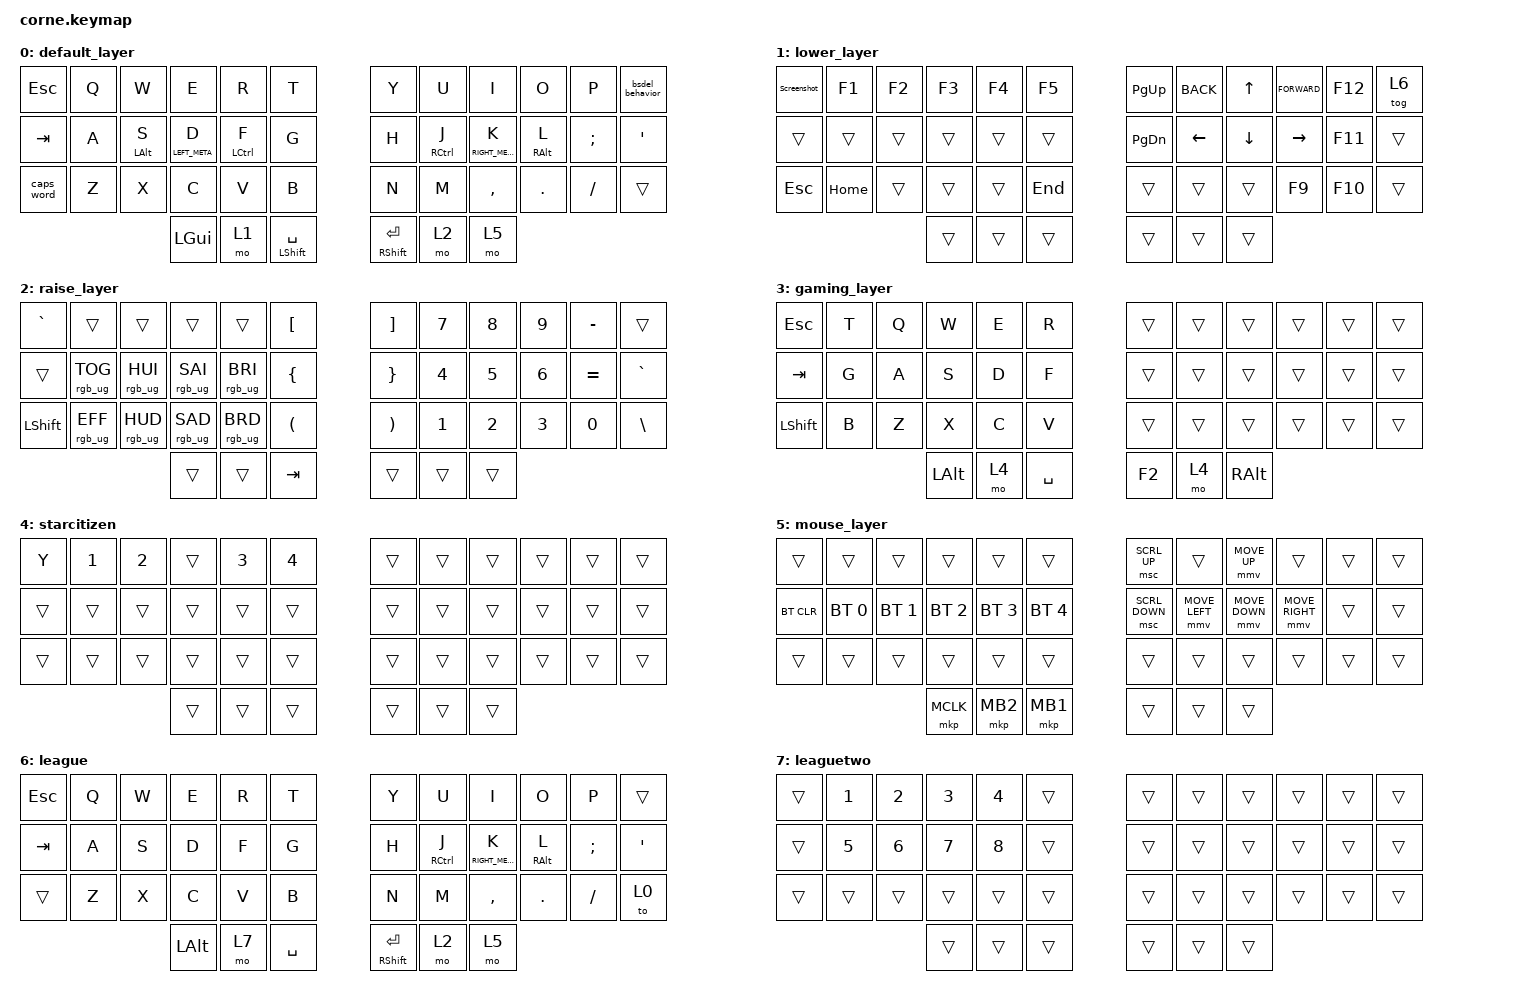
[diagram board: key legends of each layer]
/*
 * Copyright (c) 2020 The ZMK Contributors
 *
 * SPDX-License-Identifier: MIT
 */

#include <behaviors.dtsi>
#include <dt-bindings/zmk/bt.h>
#include <dt-bindings/zmk/keys.h>
#include <dt-bindings/zmk/pointing.h>
#include <dt-bindings/zmk/rgb.h>

&led_strip { chain-length = <27>; };

/ {
    combos {
        compatible = "zmk,combos";

        gaming_layer_toggle {
            bindings = <&tog 3>;
            key-positions = <40 37>;
        };
    };

    behaviors {
        HMR: HMR {
            compatible = "zmk,behavior-hold-tap";
            label = "HMR";
            bindings = <&kp>, <&kp>;

            #binding-cells = <2>;
            tapping-term-ms = <200>;
            quick-tap-ms = <175>;
            flavor = "tap-preferred";
            hold-trigger-on-release;
        };

        HML: HML {
            compatible = "zmk,behavior-hold-tap";
            label = "HML";
            bindings = <&kp>, <&kp>;

            #binding-cells = <2>;
            tapping-term-ms = <200>;
            quick-tap-ms = <175>;
            hold-trigger-on-release;
            flavor = "tap-preferred";
        };

        bsdel_behavior: bsdel_behavior {
            compatible = "zmk,behavior-mod-morph";
            label = "BSDEL_BEHAVIOR";
            bindings = <&kp BACKSPACE>, <&kp DELETE>;

            #binding-cells = <0>;
            mods = <(MOD_LSFT)>;
        };
    };

    macros {
        alt_tab: alt_tab {
            compatible = "zmk,behavior-macro";
            #binding-cells = <0>;
            bindings = <&macro_press>, <&kp LEFT_META>, <&macro_tap>, <&kp TAB>;

            label = "ALT_TAB";
        };

        Screenshot: Screenshot {
            compatible = "zmk,behavior-macro";
            #binding-cells = <0>;
            bindings =
                <&macro_press>,
                <&kp LEFT_META>,
                <&macro_tap>,
                <&kp PRINTSCREEN>;

            label = "SCREENSHOT";
        };

        discord: discord {
            compatible = "zmk,behavior-macro";
            #binding-cells = <0>;
            bindings =
                <&macro_press>,
                <&kp LEFT_ALT>,
                <&macro_tap>,
                <&kp GRAVE>;

            label = "DISCORD";
        };
    };

    keymap {
        compatible = "zmk,keymap";

        default_layer {
            // -----------------------------------------------------------------------------------------
            // |  TAB |  Q  |  W  |  E  |  R  |  T  |   |  Y  |  U   |  I  |  O  |  P  | BKSP |
            // | CTRL |  A  |  S  |  D  |  F  |  G  |   |  H  |  J   |  K  |  L  |  ;  |  '   |
            // | SHFT |  Z  |  X  |  C  |  V  |  B  |   |  N  |  M   |  ,  |  .  |  /  | SHFT |
            //                    | GUI | LWR | ENT |   | SPC | RSE  | ALT |

            bindings = <
&kp ESCAPE  &kp Q  &kp W            &kp E             &kp R         &kp T                    &kp Y                   &kp U                 &kp I              &kp O             &kp P     &bsdel_behavior
&kp TAB     &kp A  &HMR LEFT_ALT S  &HMR LEFT_META D  &HMR LCTRL F  &kp G                    &kp H                   &HML RIGHT_CONTROL J  &HML RIGHT_META K  &HML RIGHT_ALT L  &kp SEMI  &kp SQT
&caps_word  &kp Z  &kp X            &kp C             &kp V         &kp B                    &kp N                   &kp M                 &kp COMMA          &kp DOT           &kp FSLH  &trans
                                    &kp LGUI          &mo 1         &HMR LEFT_SHIFT SPACE    &HML RIGHT_SHIFT ENTER  &mo 2                 &mo 5
            >;
        };

        lower_layer {
            // -----------------------------------------------------------------------------------------
            // |  TAB |  1    |  2  |  3  |  4  |  5  |   |  6  |  7  |  8  |  9  |  0  | BKSP |
            // | LCTRL| BTCLR | BT0 | BT1 | BT2 | BT3 |   | LFT | DWN |  UP | RGT |     |      |
            // | ESC  |       | HOME| PGUP| PGDN| END |   |     |     |     |     |     |      |
            //                      | GUI |     | SPC |   | ENT |     | ALT |

            bindings = <
&Screenshot  &kp F1    &kp F2  &kp F3  &kp F4  &kp F5     &kp PG_UP  &kp K_BACK      &kp UP_ARROW    &kp K_FORWARD  &kp F12  &tog 6
&trans       &trans    &trans  &trans  &trans  &trans     &kp PG_DN  &kp LEFT_ARROW  &kp DOWN_ARROW  &kp RIGHT      &kp F11  &trans
&kp ESC      &kp HOME  &trans  &trans  &trans  &kp END    &trans     &trans          &trans          &kp F9         &kp F10  &trans
                               &trans  &trans  &trans     &trans     &trans          &trans
            >;
        };

        raise_layer {
            // -----------------------------------------------------------------------------------------
            // |  TAB |   !   |   @   |   #   |   $   |   %   |   |  ^  |  &  |  *  |  (  |  )  | BKSP |
            // | CTRL |RGB_TOG|RGB_HUI|RGB_SAI|RGB_VAI|       |   |  -  |  =  |  [  |  ]  |  \  |  `   |
            // | SHFT |RGB_MOD|RGB_HUD|RGB_SAD|RGB_VAD|QK_BOOT|   |  _  |  +  |  {  |  }  | "|" |  ~   |
            //                            | GUI |     |  SPC  |   | ENT |     | ALT |

            bindings = <
&kp GRAVE  &trans           &trans           &trans           &trans           &kp LEFT_BRACKET        &kp RIGHT_BRACKET      &kp N7  &kp N8  &kp N9  &kp MINUS  &trans
&trans     &rgb_ug RGB_TOG  &rgb_ug RGB_HUI  &rgb_ug RGB_SAI  &rgb_ug RGB_BRI  &kp LEFT_BRACE          &kp RIGHT_BRACE        &kp N4  &kp N5  &kp N6  &kp EQUAL  &kp GRAVE
&kp LSHFT  &rgb_ug RGB_EFF  &rgb_ug RGB_HUD  &rgb_ug RGB_SAD  &rgb_ug RGB_BRD  &kp LEFT_PARENTHESIS    &kp RIGHT_PARENTHESIS  &kp N1  &kp N2  &kp N3  &kp N0     &kp BACKSLASH
                                             &trans           &trans           &kp TAB                 &trans                 &trans  &trans
            >;
        };

        gaming_layer {
            bindings = <
&kp ESCAPE      &kp T  &kp Q  &kp W         &kp E  &kp R        &trans  &trans  &trans         &trans  &trans  &trans
&kp TAB         &kp G  &kp A  &kp S         &kp D  &kp F        &trans  &trans  &trans         &trans  &trans  &trans
&kp LEFT_SHIFT  &kp B  &kp Z  &kp X         &kp C  &kp V        &trans  &trans  &trans         &trans  &trans  &trans
                              &kp LEFT_ALT  &mo 4  &kp SPACE    &kp F2  &mo 4   &kp RIGHT_ALT
            >;
        };

        starcitizen {
            bindings = <
&kp Y   &kp N1  &kp N2  &trans  &kp NUMBER_3  &kp NUMBER_4    &trans  &trans  &trans  &trans  &trans  &trans
&trans  &trans  &trans  &trans  &trans        &trans          &trans  &trans  &trans  &trans  &trans  &trans
&trans  &trans  &trans  &trans  &trans        &trans          &trans  &trans  &trans  &trans  &trans  &trans
                        &trans  &trans        &trans          &trans  &trans  &trans
            >;
        };

        mouse_layer {
            bindings = <
&trans      &trans        &trans        &trans        &trans        &trans          &msc SCRL_UP    &trans          &mmv MOVE_UP    &trans           &trans  &trans
&bt BT_CLR  &bt BT_SEL 0  &bt BT_SEL 1  &bt BT_SEL 2  &bt BT_SEL 3  &bt BT_SEL 4    &msc SCRL_DOWN  &mmv MOVE_LEFT  &mmv MOVE_DOWN  &mmv MOVE_RIGHT  &trans  &trans
&trans      &trans        &trans        &trans        &trans        &trans          &trans          &trans          &trans          &trans           &trans  &trans
                                        &mkp MCLK     &mkp MB2      &mkp MB1        &trans          &trans          &trans
            >;
        };

        league {
            bindings = <
&kp ESCAPE  &kp Q  &kp W  &kp E         &kp R  &kp T        &kp Y                   &kp U                 &kp I              &kp O             &kp P     &trans
&kp TAB     &kp A  &kp S  &kp D         &kp F  &kp G        &kp H                   &HML RIGHT_CONTROL J  &HML RIGHT_META K  &HML RIGHT_ALT L  &kp SEMI  &kp SQT
&trans      &kp Z  &kp X  &kp C         &kp V  &kp B        &kp N                   &kp M                 &kp COMMA          &kp DOT           &kp FSLH  &to 0
                          &kp LEFT_ALT  &mo 7  &kp SPACE    &HML RIGHT_SHIFT ENTER  &mo 2                 &mo 5
            >;
        };

        leaguetwo {
            bindings = <
&trans  &kp NUMBER_1  &kp NUMBER_2  &kp NUMBER_3  &kp NUMBER_4  &trans    &trans  &trans  &trans  &trans  &trans  &trans
&trans  &kp NUMBER_5  &kp NUMBER_6  &kp N7        &kp NUMBER_8  &trans    &trans  &trans  &trans  &trans  &trans  &trans
&trans  &trans        &trans        &trans        &trans        &trans    &trans  &trans  &trans  &trans  &trans  &trans
                                    &trans        &trans        &trans    &trans  &trans  &trans
            >;
        };
    };
};
